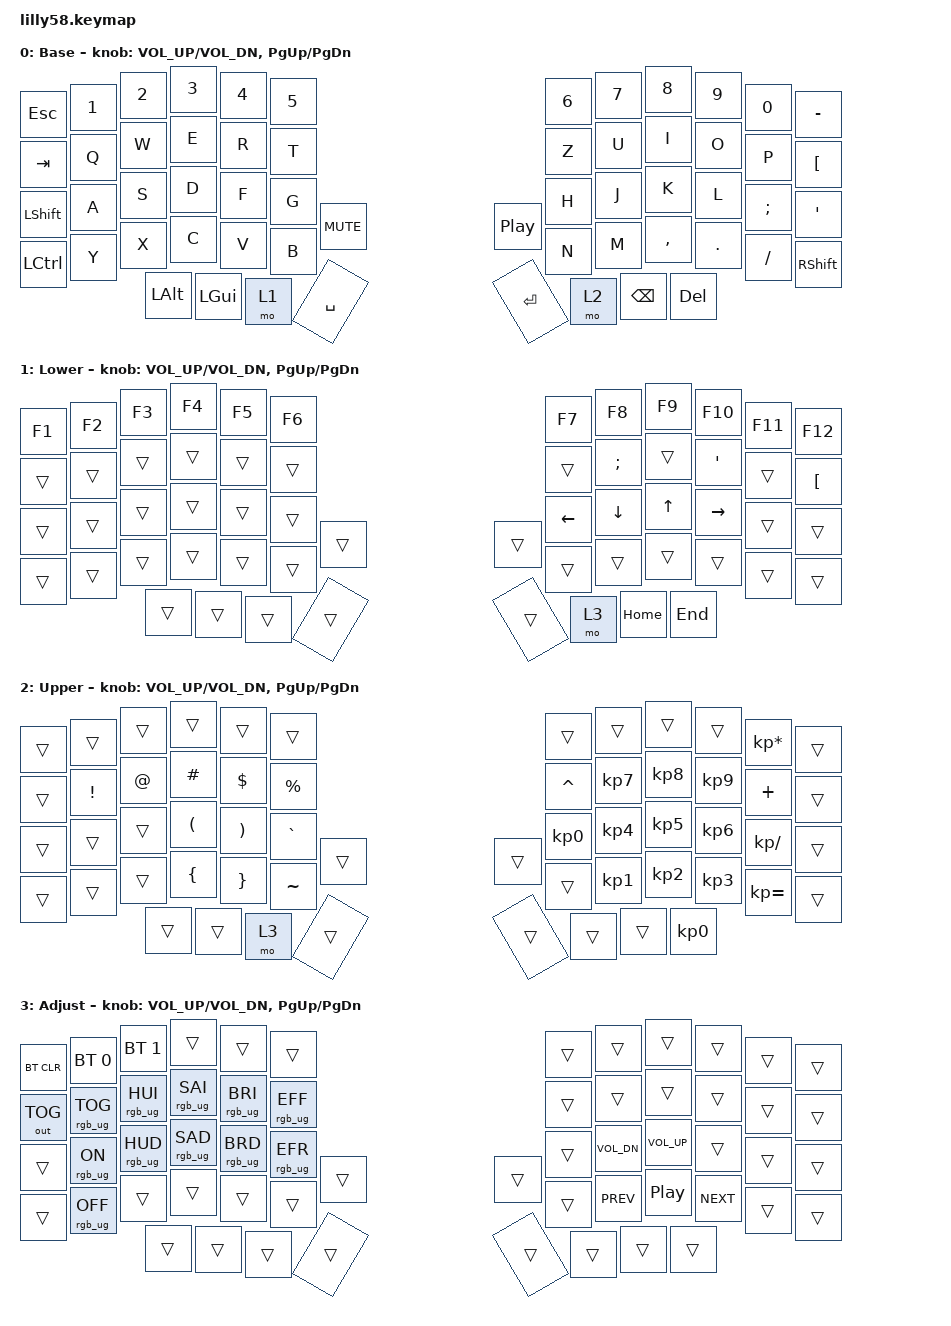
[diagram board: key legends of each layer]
/*
 * Copyright (c) 2020 The ZMK Contributors
 * SPDX-License-Identifier: MIT
 */

#include <behaviors.dtsi>
#include <dt-bindings/zmk/keys.h>
#include <dt-bindings/zmk/bt.h>
#include <dt-bindings/zmk/rgb.h>
#include <dt-bindings/zmk/backlight.h>
#include <dt-bindings/zmk/outputs.h>

/*
 * Deutsch QWERTZ Umlaute auf Windows:
 * ä = SEMI       (;)
 * ö = SQT        (')  → auf QWERTZ Position
 * ü = LBKT       ([)
 * ß = MINUS      (-)
 * Da Windows QWERTZ eingestellt ist, stimmen die Positionen überein.
 */

/ {
    behaviors {
        hold_or_tap: hold_or_tap {
            compatible = "zmk,behavior-hold-tap";
            #binding-cells = <2>;
            bindings = <&kp>, <&kp>;
            tapping-term-ms = <200>;
            flavor = "tap-preferred";
        };
    };

    keymap {
        compatible = "zmk,keymap";

        // Layer 0 – Base (QWERTZ)
        default_layer {
            display-name = "Base";
            bindings = <
&kp ESC    &kp N1  &kp N2  &kp N3    &kp N4    &kp N5                          &kp N6  &kp N7    &kp N8     &kp N9   &kp N0    &kp MINUS
&kp TAB    &kp Q   &kp W   &kp E     &kp R     &kp T                           &kp Z   &kp U     &kp I      &kp O    &kp P     &kp LBKT
&kp LSHFT  &kp A   &kp S   &kp D     &kp F     &kp G                           &kp H   &kp J     &kp K      &kp L    &kp SEMI  &kp SQT
&kp LCTRL  &kp Y   &kp X   &kp C     &kp V     &kp B   &kp C_MUTE  &kp C_PP   &kp N   &kp M     &kp COMMA  &kp DOT  &kp FSLH  &kp RSHFT
                            &kp LALT  &kp LGUI  &mo 1   &kp SPACE   &kp RET    &mo 2   &kp BSPC  &kp DEL
            >;
            sensor-bindings = <&inc_dec_kp C_VOL_UP C_VOL_DN &inc_dec_kp PG_UP PG_DN>;
        };

        // Layer 1 – Lower (Umlaute, Zahlen, Navigation)
        lower_layer {
            display-name = "Lower";
            bindings = <
&kp F1     &kp F2    &kp F3    &kp F4    &kp F5    &kp F6                        &kp F7    &kp F8    &kp F9    &kp F10   &kp F11   &kp F12
&trans     &trans    &trans    &trans    &trans    &trans                        &trans    &kp SEMI  &trans    &kp SQT   &trans    &kp LBKT
&trans     &trans    &trans    &trans    &trans    &trans                        &kp LEFT  &kp DOWN  &kp UP    &kp RIGHT &trans    &trans
&trans     &trans    &trans    &trans    &trans    &trans  &trans    &trans      &trans    &trans    &trans    &trans    &trans    &trans
                               &trans    &trans    &trans  &trans    &trans      &mo 3     &kp HOME  &kp END
            >;
            sensor-bindings = <&inc_dec_kp C_VOL_UP C_VOL_DN &inc_dec_kp PG_UP PG_DN>;
        };

        // Layer 2 – Upper (Symbole, Numpad)
        upper_layer {
            display-name = "Upper";
            bindings = <
&trans     &trans    &trans    &trans    &trans    &trans                        &trans         &trans         &trans         &trans         &kp KP_MULTIPLY  &trans
&trans     &kp EXCL  &kp AT    &kp HASH  &kp DLLR  &kp PRCNT                   &kp CARET      &kp KP_N7      &kp KP_N8      &kp KP_N9      &kp PLUS         &trans
&trans     &trans    &trans    &kp LPAR  &kp RPAR  &kp GRAVE                   &kp KP_N0      &kp KP_N4      &kp KP_N5      &kp KP_N6      &kp KP_SLASH     &trans
&trans     &trans    &trans    &kp LBRC  &kp RBRC  &kp TILDE  &trans  &trans   &trans         &kp KP_N1      &kp KP_N2      &kp KP_N3      &kp KP_EQUAL     &trans
                               &trans    &trans    &mo 3      &trans  &trans   &trans         &trans         &kp KP_N0
            >;
            sensor-bindings = <&inc_dec_kp C_VOL_UP C_VOL_DN &inc_dec_kp PG_UP PG_DN>;
        };

        // Layer 3 – Adjust (BT, RGB, Media)
        adjust_layer {
            display-name = "Adjust";
            bindings = <
&bt BT_CLR   &bt BT_SEL 0     &bt BT_SEL 1     &trans           &trans           &trans                          &trans  &trans        &trans        &trans  &trans  &trans
&out OUT_TOG &rgb_ug RGB_TOG  &rgb_ug RGB_HUI  &rgb_ug RGB_SAI  &rgb_ug RGB_BRI  &rgb_ug RGB_EFF                 &trans  &trans        &trans        &trans  &trans  &trans
&trans       &rgb_ug RGB_ON   &rgb_ug RGB_HUD  &rgb_ug RGB_SAD  &rgb_ug RGB_BRD  &rgb_ug RGB_EFR                 &trans  &kp C_VOL_DN  &kp C_VOL_UP  &trans  &trans  &trans
&trans       &rgb_ug RGB_OFF  &trans           &trans           &trans           &trans   &trans      &trans      &trans  &kp C_PREV    &kp C_PP      &kp C_NEXT  &trans  &trans
                                               &trans           &trans           &trans   &trans      &trans      &trans  &trans        &trans
            >;
            sensor-bindings = <&inc_dec_kp C_VOL_UP C_VOL_DN &inc_dec_kp PG_UP PG_DN>;
        };

        extra_2 { status = "reserved"; };
        extra_3 { status = "reserved"; };
    };
};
